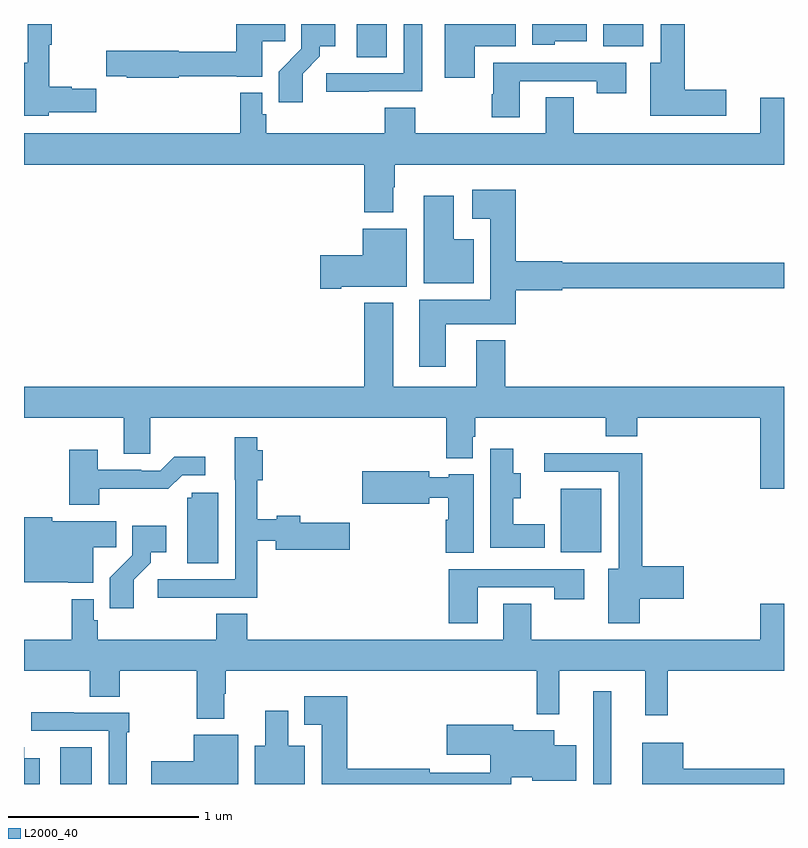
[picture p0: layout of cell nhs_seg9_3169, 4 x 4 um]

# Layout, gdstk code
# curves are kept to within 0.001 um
import gdstk
lib = gdstk.Library(unit=1e-6, precision=1e-09)
def R(c, l, rs):  # rectangles x0, y0, x1, y1
    for r in rs: c.add(gdstk.rectangle(r[:2], r[2:], *l))
def P(c, l, *ps):  # polygons
    for p in ps: c.add(gdstk.Polygon(p, *l))
L2000_40 = (2000, 40)

nhs_seg9_3169 = lib.new_cell('nhs_seg9_3169')
R(nhs_seg9_3169, L2000_40, [(293.192,1186.5,293.356,1186.694), (295.995,1186.5,296.092,1186.987), (295.826,1187.72,296.038,1188.055), (294.752,1190.326,294.91,1190.5), (296.048,1190.384,296.26,1190.5)])
P(nhs_seg9_3169, L2000_40, [(294.466,1190.239),(294.556,1190.329),(294.556,1190.384),(294.637,1190.384),(294.637,1190.5),(294.459,1190.5),(294.459,1190.369),(294.34,1190.25),(294.34,1190.088),(294.466,1190.088)],
  [(293.814,1190.226),(294.12,1190.226),(294.12,1190.222),(294.253,1190.222),(294.253,1190.41),(294.374,1190.41),(294.374,1190.5),(294.116,1190.5),(294.116,1190.354),(293.814,1190.354),(293.814,1190.36),(293.432,1190.36),(293.432,1190.226),(293.542,1190.226),(293.542,1190.218),(293.814,1190.218)],
  [(294.815,1190.145),(295.095,1190.145),(295.095,1190.5),(294.999,1190.5),(294.999,1190.241),(294.591,1190.241),(294.591,1190.143),(294.815,1190.143)],
  [(295.794,1190.408),(295.963,1190.408),(295.963,1190.5),(295.676,1190.5),(295.676,1190.39),(295.794,1190.39)],
  [(293.13,1190.036),(293.38,1190.036),(293.38,1190.159),(293.25,1190.159),(293.25,1190.171),(293.134,1190.171),(293.134,1190.392),(293.147,1190.392),(293.147,1190.5),(293.021,1190.5),(293.021,1190.296),(293,1190.296),(293,1190.018),(293.13,1190.018)],
  [(296.695,1190.153),(296.477,1190.153),(296.477,1190.5),(296.351,1190.5),(296.351,1190.296),(296.297,1190.296),(296.297,1190.018),(296.695,1190.018)],
  [(295.372,1190.384),(295.588,1190.384),(295.588,1190.5),(295.214,1190.5),(295.214,1190.217),(295.372,1190.217)],
  [(295.609,1190.199),(296.014,1190.199),(296.014,1190.136),(296.17,1190.136),(296.17,1190.295),(295.469,1190.295),(295.469,1190.129),(295.462,1190.129),(295.462,1190.01),(295.609,1190.01)],
  [(294.943,1189.64),(294.951,1189.64),(294.951,1189.76),(297,1189.76),(297,1190.113),(296.876,1190.113),(296.876,1189.924),(295.893,1189.924),(295.893,1190.114),(295.745,1190.114),(295.745,1189.924),(295.059,1189.924),(295.059,1190.06),(294.899,1190.06),(294.899,1189.924),(294.275,1189.924),(294.275,1190.025),(294.255,1190.025),(294.255,1190.137),(294.139,1190.137),(294.139,1189.924),(293,1189.924),(293,1189.76),(294.791,1189.76),(294.791,1189.508),(294.943,1189.508)],
  [(295.219,1188.92),(295.589,1188.92),(295.589,1189.1),(295.833,1189.1),(295.833,1189.108),(297,1189.108),(297,1189.244),(295.833,1189.244),(295.833,1189.252),(295.589,1189.252),(295.589,1189.627),(295.359,1189.627),(295.359,1189.475),(295.454,1189.475),(295.454,1189.048),(295.079,1189.048),(295.079,1188.696),(295.219,1188.696)],
  [(295.366,1189.366),(295.261,1189.366),(295.261,1189.597),(295.103,1189.597),(295.103,1189.136),(295.366,1189.136)],
  [(294.67,1189.118),(295.015,1189.118),(295.015,1189.423),(294.782,1189.423),(294.782,1189.284),(294.558,1189.284),(294.558,1189.106),(294.67,1189.106)],
  [(297,1188.592),(295.532,1188.592),(295.532,1188.835),(295.379,1188.835),(295.379,1188.592),(294.943,1188.592),(294.943,1189.033),(294.791,1189.033),(294.791,1188.592),(293,1188.592),(293,1188.428),(293.525,1188.428),(293.525,1188.238),(293.664,1188.238),(293.664,1188.428),(295.223,1188.428),(295.223,1188.215),(295.363,1188.215),(295.363,1188.327),(295.376,1188.327),(295.376,1188.428),(296.063,1188.428),(296.063,1188.329),(296.228,1188.329),(296.228,1188.428),(296.876,1188.428),(296.876,1188.054),(297,1188.054)],
  [(293.927,1187.481),(294.227,1187.481),(294.227,1187.78),(294.326,1187.78),(294.326,1187.734),(294.715,1187.734),(294.715,1187.876),(294.454,1187.876),(294.454,1187.912),(294.33,1187.912),(294.33,1187.894),(294.227,1187.894),(294.227,1188.098),(294.257,1188.098),(294.257,1188.256),(294.227,1188.256),(294.227,1188.325),(294.11,1188.325),(294.11,1188.102),(294.111,1188.102),(294.111,1187.577),(293.703,1187.577),(293.703,1187.479),(293.927,1187.479)],
  [(295.741,1187.866),(295.576,1187.866),(295.576,1188.005),(295.615,1188.005),(295.615,1188.135),(295.576,1188.135),(295.576,1188.265),(295.454,1188.265),(295.454,1187.744),(295.741,1187.744)],
  [(293.397,1188.054),(293.759,1188.053),(293.832,1188.126),(293.953,1188.126),(293.953,1188.223),(293.791,1188.223),(293.718,1188.15),(293.618,1188.15),(293.618,1188.153),(293.389,1188.153),(293.389,1188.259),(293.237,1188.259),(293.237,1187.969),(293.397,1187.969)],
  [(296.242,1187.474),(296.473,1187.474),(296.473,1187.645),(296.255,1187.645),(296.255,1188.242),(295.737,1188.242),(295.737,1188.144),(296.129,1188.144),(296.129,1187.632),(296.075,1187.632),(296.075,1187.346),(296.242,1187.346)],
  [(295.366,1188.13),(295.236,1188.13),(295.236,1188.114),(295.132,1188.114),(295.132,1188.145),(294.78,1188.145),(294.78,1187.975),(295.132,1187.975),(295.132,1188.006),(295.232,1188.006),(295.232,1187.891),(295.22,1187.891),(295.22,1187.716),(295.366,1187.716)],
  [(294.022,1188.033),(293.883,1188.033),(293.883,1188.006),(293.858,1188.006),(293.858,1187.662),(294.022,1187.662)],
  [(293.365,1187.746),(293.486,1187.746),(293.486,1187.884),(293.148,1187.884),(293.148,1187.905),(293,1187.905),(293,1187.561),(293.232,1187.561),(293.232,1187.558),(293.365,1187.558)],
  [(293.578,1187.575),(293.668,1187.665),(293.668,1187.72),(293.749,1187.72),(293.749,1187.86),(293.571,1187.86),(293.571,1187.705),(293.452,1187.586),(293.452,1187.424),(293.578,1187.424)],
  [(295.387,1187.535),(295.792,1187.535),(295.792,1187.472),(295.948,1187.472),(295.948,1187.631),(295.235,1187.631),(295.235,1187.346),(295.387,1187.346)],
  [(294.055,1186.976),(294.063,1186.976),(294.063,1187.096),(295.699,1187.096),(295.699,1186.868),(295.817,1186.868),(295.817,1187.096),(296.27,1187.096),(296.27,1186.863),(296.387,1186.863),(296.387,1187.096),(297,1187.096),(297,1187.449),(296.876,1187.449),(296.876,1187.26),(295.671,1187.26),(295.671,1187.45),(295.523,1187.45),(295.523,1187.26),(294.176,1187.26),(294.176,1187.396),(294.011,1187.396),(294.011,1187.26),(293.387,1187.26),(293.387,1187.361),(293.367,1187.361),(293.367,1187.473),(293.251,1187.473),(293.251,1187.26),(293,1187.26),(293,1187.096),(293.345,1187.096),(293.345,1186.96),(293.505,1186.96),(293.505,1187.096),(293.908,1187.096),(293.908,1186.844),(294.055,1186.844)],
  [(295.564,1186.535),(295.674,1186.535),(295.674,1186.517),(295.906,1186.517),(295.906,1186.705),(295.792,1186.705),(295.792,1186.783),(295.576,1186.783),(295.576,1186.813),(295.224,1186.813),(295.224,1186.655),(295.454,1186.655),(295.454,1186.56),(295.136,1186.56),(295.136,1186.58),(294.701,1186.58),(294.701,1186.963),(294.476,1186.963),(294.476,1186.811),(294.566,1186.811),(294.566,1186.5),(295.564,1186.5)],
  [(294.478,1186.702),(294.391,1186.702),(294.391,1186.885),(294.269,1186.885),(294.269,1186.702),(294.215,1186.702),(294.215,1186.5),(294.478,1186.5)],
  [(293.541,1186.772),(293.554,1186.772),(293.554,1186.875),(293.261,1186.875),(293.261,1186.878),(293.037,1186.878),(293.037,1186.779),(293.445,1186.779),(293.445,1186.5),(293.541,1186.5)],
  [(294.127,1186.759),(293.894,1186.759),(293.894,1186.62),(293.67,1186.62),(293.67,1186.5),(294.127,1186.5)],
  [(297,1186.58),(296.47,1186.58),(296.47,1186.717),(296.255,1186.717),(296.255,1186.5),(297,1186.5)],
  [(293.083,1186.636),(293.002,1186.636),(293.002,1186.691),(293,1186.693),(293,1186.5),(293.083,1186.5)])

lib.write_gds('nhs_seg9_3169.gds')
